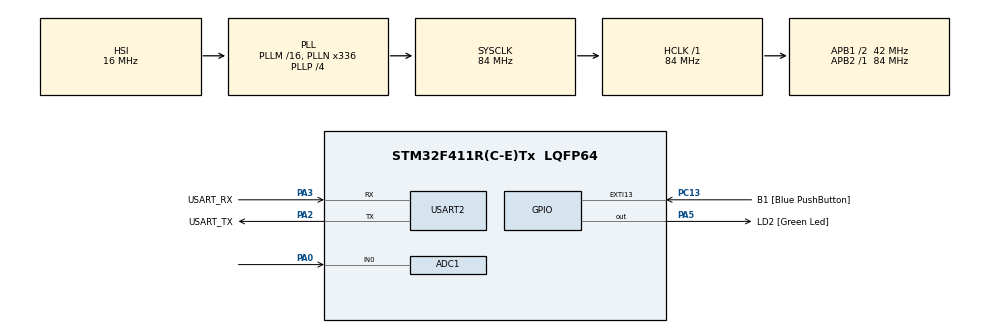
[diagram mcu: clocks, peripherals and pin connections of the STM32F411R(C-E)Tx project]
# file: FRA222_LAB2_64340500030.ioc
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ADC1.Channel-0\#ChannelRegularConversion=ADC_CHANNEL_0
ADC1.Channel-1\#ChannelRegularConversion=ADC_CHANNEL_TEMPSENSOR
ADC1.ContinuousConvMode=ENABLE
ADC1.DMAContinuousRequests=ENABLE
ADC1.EOCSelection=ADC_EOC_SEQ_CONV
ADC1.NbrOfConversion=2
ADC1.NbrOfConversionFlag=1
ADC1.Rank-0\#ChannelRegularConversion=1
ADC1.Rank-1\#ChannelRegularConversion=2
ADC1.SamplingTime-0\#ChannelRegularConversion=ADC_SAMPLETIME_56CYCLES
ADC1.SamplingTime-1\#ChannelRegularConversion=ADC_SAMPLETIME_56CYCLES
ADC1.ScanConvMode=ENABLE
ADC1.master=1
Dma.ADC1.0.Direction=DMA_PERIPH_TO_MEMORY
Dma.ADC1.0.FIFOMode=DMA_FIFOMODE_DISABLE
Dma.ADC1.0.Instance=DMA2_Stream0
Dma.ADC1.0.MemDataAlignment=DMA_MDATAALIGN_HALFWORD
Dma.ADC1.0.MemInc=DMA_MINC_ENABLE
Dma.ADC1.0.Mode=DMA_CIRCULAR
Dma.ADC1.0.PeriphDataAlignment=DMA_PDATAALIGN_HALFWORD
Dma.ADC1.0.PeriphInc=DMA_PINC_DISABLE
Dma.ADC1.0.Priority=DMA_PRIORITY_LOW
Dma.Request0=ADC1
Mcu.Family=STM32F4
Mcu.Name=STM32F411R(C-E)Tx
Mcu.Package=LQFP64
NVIC.ADC_IRQn=true\:0\:0\:false\:false\:true\:true\:true\:true
NVIC.DMA2_Stream0_IRQn=true\:0\:0\:false\:false\:true\:false\:true\:true
NVIC.EXTI15_10_IRQn=true\:0\:0\:false\:false\:true\:true\:true\:true
NVIC.PriorityGroup=NVIC_PRIORITYGROUP_0
PA0-WKUP.Signal=ADCx_IN0
PA13.GPIO_Label=TMS
PA13.Mode=Serial_Wire
PA13.Signal=SYS_JTMS-SWDIO
PA14.GPIO_Label=TCK
PA14.Mode=Serial_Wire
PA14.Signal=SYS_JTCK-SWCLK
PA2.GPIO_Label=USART_TX
PA2.Mode=Asynchronous
PA2.Signal=USART2_TX
PA3.GPIO_Label=USART_RX
PA3.Mode=Asynchronous
PA3.Signal=USART2_RX
PA5.GPIO_Label=LD2 [Green Led]
PA5.Signal=GPIO_Output
PB3.GPIO_Label=SWO
PB3.Signal=SYS_JTDO-SWO
PC13-ANTI_TAMP.GPIO_Label=B1 [Blue PushButton]
PC13-ANTI_TAMP.GPIO_ModeDefaultEXTI=GPIO_MODE_IT_FALLING
PC13-ANTI_TAMP.Signal=GPXTI13
PC14-OSC32_IN.Mode=LSE-External-Oscillator
PC14-OSC32_IN.Signal=RCC_OSC32_IN
PC15-OSC32_OUT.Mode=LSE-External-Oscillator
PC15-OSC32_OUT.Signal=RCC_OSC32_OUT
PH0\ -\ OSC_IN.Mode=HSE-External-Clock-Source
PH0\ -\ OSC_IN.Signal=RCC_OSC_IN
PH1\ -\ OSC_OUT.Mode=HSE-External-Clock-Source
PH1\ -\ OSC_OUT.Signal=RCC_OSC_OUT
ProjectManager.HeapSize=0x200
ProjectManager.StackSize=0x400
ProjectManager.TargetToolchain=STM32CubeIDE
RCC.48MHZClocksFreq_Value=84000000
RCC.AHBFreq_Value=84000000
RCC.APB1CLKDivider=RCC_HCLK_DIV2
RCC.APB1Freq_Value=42000000
RCC.APB1TimFreq_Value=84000000
RCC.APB2Freq_Value=84000000
RCC.APB2TimFreq_Value=84000000
RCC.CortexFreq_Value=84000000
RCC.FLatency-AdvancedSettings=FLASH_LATENCY_2
RCC.HCLKFreq_Value=84000000
RCC.HSE_VALUE=8000000
RCC.HSI_VALUE=16000000
RCC.PLLN=336
RCC.PLLP=RCC_PLLP_DIV4
RCC.SYSCLKFreq_VALUE=84000000
RCC.SYSCLKSource=RCC_SYSCLKSOURCE_PLLCLK
RCC.VCOOutputFreq_Value=336000000
SH.ADCx_IN0.0=ADC1_IN0,IN0
USART2.VirtualMode=VM_ASYNC
VP_ADC1_TempSens_Input.Mode=IN-TempSens
board=NUCLEO-F411RE

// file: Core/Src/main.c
/* USER CODE BEGIN Header */
/**
  ******************************************************************************
  * @file           : main.c
  * @brief          : Main program body
  ******************************************************************************
  * @attention
  *
  * Copyright (c) 2023 STMicroelectronics.
  * All rights reserved.
  *
  * This software is licensed under terms that can be found in the LICENSE file
  * in the root directory of this software component.
  * If no LICENSE file comes with this software, it is provided AS-IS.
  *
  ******************************************************************************
  */
/* USER CODE END Header */
#include "main.h"

ADC_HandleTypeDef hadc1;
DMA_HandleTypeDef hdma_adc1;

UART_HandleTypeDef huart2;

/* USER CODE BEGIN PV */
typedef struct Data{
	uint16_t V;
	uint16_t T;
}data;
data buff[10];

float voltageFull = 0;
int voltage = 0, temperature = 0;
float finalVolt, finalTempC, finalTempK;

/* USER CODE END PV */

void SystemClock_Config(void);
static void MX_GPIO_Init(void);
static void MX_DMA_Init(void);
static void MX_USART2_UART_Init(void);
static void MX_ADC1_Init(void);

int main(void)
{

  /* MCU Configuration--------------------------------------------------------*/

  /* Reset of all peripherals, Initializes the Flash interface and the Systick. */
  HAL_Init();

  /* Configure the system clock */
  SystemClock_Config();

  /* Initialize all configured peripherals */
  MX_GPIO_Init();
  MX_DMA_Init();
  MX_USART2_UART_Init();
  MX_ADC1_Init();

  /* Infinite loop */
  /* USER CODE BEGIN WHILE */
  HAL_ADC_Start_DMA(&hadc1, buff, 20);
  while (1)
  {
    /* USER CODE END WHILE */
    /* USER CODE BEGIN 3 */
	static uint32_t timestamp = 0;
	if (HAL_GetTick() >= timestamp) {
		timestamp = HAL_GetTick() + 1000;
		for (int k = 0; k < 10; k++) {
			voltage += buff[k].V;
			temperature += buff[k].T;
		}
		finalVolt = ((voltage/10.0)/4096.0)*3.3;
		voltageFull = finalVolt*2;
		finalTempC = (((((temperature/10.0)/4096.0)*3.3*1000)-760)/2.5)+25;
		finalTempK = finalTempC + 273.15;

		voltage = 0;
		temperature = 0;
	}
  }
  /* USER CODE END 3 */
}

void SystemClock_Config(void)
{
  RCC_OscInitTypeDef RCC_OscInitStruct = {0};
  RCC_ClkInitTypeDef RCC_ClkInitStruct = {0};

  /** Configure the main internal regulator output voltage
  */
  __HAL_RCC_PWR_CLK_ENABLE();
  __HAL_PWR_VOLTAGESCALING_CONFIG(PWR_REGULATOR_VOLTAGE_SCALE1);

  /** Initializes the RCC Oscillators according to the specified parameters
  * in the RCC_OscInitTypeDef structure.
  */
  RCC_OscInitStruct.OscillatorType = RCC_OSCILLATORTYPE_HSI;
  RCC_OscInitStruct.HSIState = RCC_HSI_ON;
  RCC_OscInitStruct.HSICalibrationValue = RCC_HSICALIBRATION_DEFAULT;
  RCC_OscInitStruct.PLL.PLLState = RCC_PLL_ON;
  RCC_OscInitStruct.PLL.PLLSource = RCC_PLLSOURCE_HSI;
  RCC_OscInitStruct.PLL.PLLM = 16;
  RCC_OscInitStruct.PLL.PLLN = 336;
  RCC_OscInitStruct.PLL.PLLP = RCC_PLLP_DIV4;
  RCC_OscInitStruct.PLL.PLLQ = 4;
  if (HAL_RCC_OscConfig(&RCC_OscInitStruct) != HAL_OK)
  {
    Error_Handler();
  }

  /** Initializes the CPU, AHB and APB buses clocks
  */
  RCC_ClkInitStruct.ClockType = RCC_CLOCKTYPE_HCLK|RCC_CLOCKTYPE_SYSCLK
                              |RCC_CLOCKTYPE_PCLK1|RCC_CLOCKTYPE_PCLK2;
  RCC_ClkInitStruct.SYSCLKSource = RCC_SYSCLKSOURCE_PLLCLK;
  RCC_ClkInitStruct.AHBCLKDivider = RCC_SYSCLK_DIV1;
  RCC_ClkInitStruct.APB1CLKDivider = RCC_HCLK_DIV2;
  RCC_ClkInitStruct.APB2CLKDivider = RCC_HCLK_DIV1;

  if (HAL_RCC_ClockConfig(&RCC_ClkInitStruct, FLASH_LATENCY_2) != HAL_OK)
  {
    Error_Handler();
  }
}

static void MX_ADC1_Init(void)
{

  ADC_ChannelConfTypeDef sConfig = {0};

  /** Configure the global features of the ADC (Clock, Resolution, Data Alignment and number of conversion)
  */
  hadc1.Instance = ADC1;
  hadc1.Init.ClockPrescaler = ADC_CLOCK_SYNC_PCLK_DIV4;
  hadc1.Init.Resolution = ADC_RESOLUTION_12B;
  hadc1.Init.ScanConvMode = ENABLE;
  hadc1.Init.ContinuousConvMode = ENABLE;
  hadc1.Init.DiscontinuousConvMode = DISABLE;
  hadc1.Init.ExternalTrigConvEdge = ADC_EXTERNALTRIGCONVEDGE_NONE;
  hadc1.Init.ExternalTrigConv = ADC_SOFTWARE_START;
  hadc1.Init.DataAlign = ADC_DATAALIGN_RIGHT;
  hadc1.Init.NbrOfConversion = 2;
  hadc1.Init.DMAContinuousRequests = ENABLE;
  hadc1.Init.EOCSelection = ADC_EOC_SEQ_CONV;
  if (HAL_ADC_Init(&hadc1) != HAL_OK)
  {
    Error_Handler();
  }

  /** Configure for the selected ADC regular channel its corresponding rank in the sequencer and its sample time.
  */
  sConfig.Channel = ADC_CHANNEL_0;
  sConfig.Rank = 1;
  sConfig.SamplingTime = ADC_SAMPLETIME_56CYCLES;
  if (HAL_ADC_ConfigChannel(&hadc1, &sConfig) != HAL_OK)
  {
    Error_Handler();
  }

  /** Configure for the selected ADC regular channel its corresponding rank in the sequencer and its sample time.
  */
  sConfig.Channel = ADC_CHANNEL_TEMPSENSOR;
  sConfig.Rank = 2;
  if (HAL_ADC_ConfigChannel(&hadc1, &sConfig) != HAL_OK)
  {
    Error_Handler();
  }

}

static void MX_USART2_UART_Init(void)
{

  huart2.Instance = USART2;
  huart2.Init.BaudRate = 115200;
  huart2.Init.WordLength = UART_WORDLENGTH_8B;
  huart2.Init.StopBits = UART_STOPBITS_1;
  huart2.Init.Parity = UART_PARITY_NONE;
  huart2.Init.Mode = UART_MODE_TX_RX;
  huart2.Init.HwFlowCtl = UART_HWCONTROL_NONE;
  huart2.Init.OverSampling = UART_OVERSAMPLING_16;
  if (HAL_UART_Init(&huart2) != HAL_OK)
  {
    Error_Handler();
  }

}

static void MX_DMA_Init(void)
{

  /* DMA controller clock enable */
  __HAL_RCC_DMA2_CLK_ENABLE();

  /* DMA interrupt init */
  /* DMA2_Stream0_IRQn interrupt configuration */
  HAL_NVIC_SetPriority(DMA2_Stream0_IRQn, 0, 0);
  HAL_NVIC_EnableIRQ(DMA2_Stream0_IRQn);

}

static void MX_GPIO_Init(void)
{
  GPIO_InitTypeDef GPIO_InitStruct = {0};

  /* GPIO Ports Clock Enable */
  __HAL_RCC_GPIOC_CLK_ENABLE();
  __HAL_RCC_GPIOH_CLK_ENABLE();
  __HAL_RCC_GPIOA_CLK_ENABLE();
  __HAL_RCC_GPIOB_CLK_ENABLE();

  /*Configure GPIO pin Output Level */
  HAL_GPIO_WritePin(LD2_GPIO_Port, LD2_Pin, GPIO_PIN_RESET);

  /*Configure GPIO pin : B1_Pin */
  GPIO_InitStruct.Pin = B1_Pin;
  GPIO_InitStruct.Mode = GPIO_MODE_IT_FALLING;
  GPIO_InitStruct.Pull = GPIO_NOPULL;
  HAL_GPIO_Init(B1_GPIO_Port, &GPIO_InitStruct);

  /*Configure GPIO pin : LD2_Pin */
  GPIO_InitStruct.Pin = LD2_Pin;
  GPIO_InitStruct.Mode = GPIO_MODE_OUTPUT_PP;
  GPIO_InitStruct.Pull = GPIO_NOPULL;
  GPIO_InitStruct.Speed = GPIO_SPEED_FREQ_LOW;
  HAL_GPIO_Init(LD2_GPIO_Port, &GPIO_InitStruct);

  /* EXTI interrupt init*/
  HAL_NVIC_SetPriority(EXTI15_10_IRQn, 0, 0);
  HAL_NVIC_EnableIRQ(EXTI15_10_IRQn);

}

/* USER CODE BEGIN 4 */
void HAL_GPIO_EXTI_Callback(uint16_t GPIO_Pin){
	if(GPIO_Pin == GPIO_PIN_13){

	}
}
/* USER CODE END 4 */

void Error_Handler(void)
{
  __disable_irq();
  while (1)
  {
  }
}
